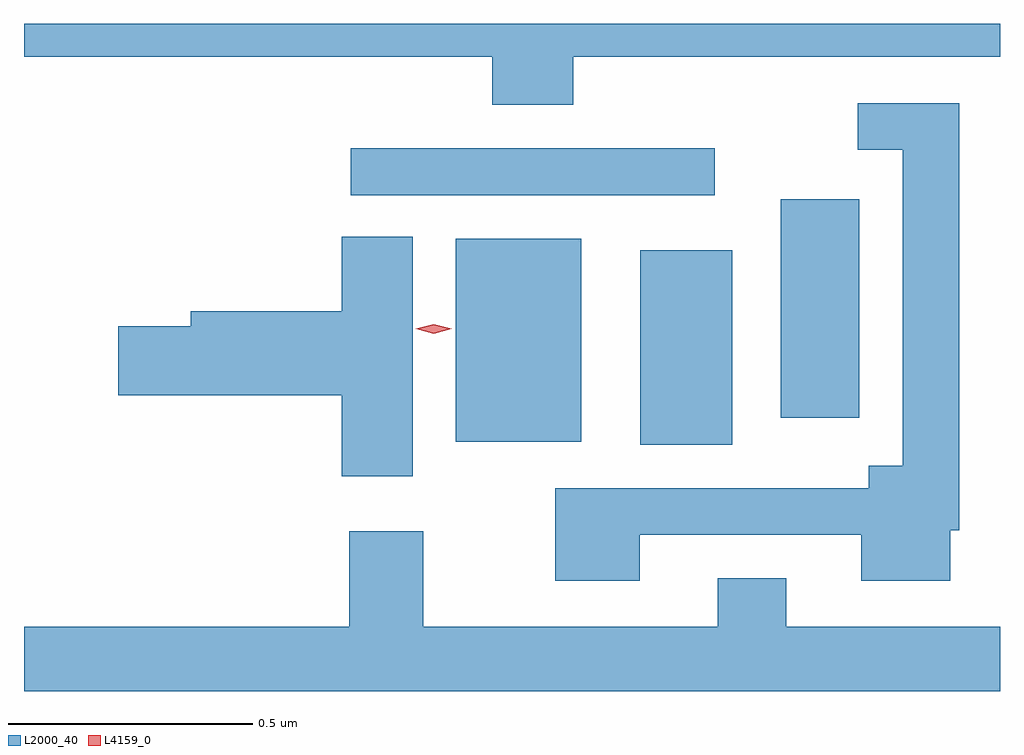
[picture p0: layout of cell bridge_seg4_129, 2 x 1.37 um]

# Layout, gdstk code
import gdstk
lib = gdstk.Library(unit=1e-6, precision=1e-09)
def R(c, l, rs):  # rectangles x0, y0, x1, y1
    for r in rs: c.add(gdstk.rectangle(r[:2], r[2:], *l))
def P(c, l, *ps):  # polygons
    for p in ps: c.add(gdstk.Polygon(p, *l))
L2000_40 = (2000, 40)
L4159_0 = (4159, 0)

bridge_seg4_129 = lib.new_cell('bridge_seg4_129')
R(bridge_seg4_129, L2000_40, [(339.788,749.405,339.976,749.803), (339.41,749.411,339.667,749.827), (340.076,749.46,340.237,749.908), (339.195,749.916,339.94,750.012)])
P(bridge_seg4_129, L2000_40, [(339.65,750.2),(340.525,750.2),(340.525,750.267),(338.525,750.267),(338.525,750.2),(339.485,750.2),(339.485,750.101),(339.65,750.101)],
  [(339.787,749.22),(340.241,749.22),(340.241,749.126),(340.423,749.126),(340.423,749.23),(340.442,749.23),(340.442,750.105),(340.233,750.105),(340.233,750.009),(340.326,750.009),(340.326,749.362),(340.256,749.362),(340.256,749.316),(339.614,749.316),(339.614,749.126),(339.787,749.126)],
  [(339.322,749.831),(339.176,749.831),(339.176,749.678),(338.867,749.678),(338.867,749.648),(338.718,749.648),(338.718,749.506),(339.176,749.506),(339.176,749.34),(339.322,749.34)],
  [(340.525,749.032),(340.087,749.032),(340.087,749.131),(339.947,749.131),(339.947,749.032),(339.343,749.032),(339.343,749.227),(339.191,749.227),(339.191,749.032),(338.525,749.032),(338.525,748.9),(340.525,748.9)])
P(bridge_seg4_129, L4159_0, [(339.365,749.632),(339.328,749.642),(339.328,749.642),(339.328,749.642),(339.365,749.652),(339.402,749.642),(339.402,749.642),(339.402,749.642)])

lib.write_gds('bridge_seg4_129.gds')
